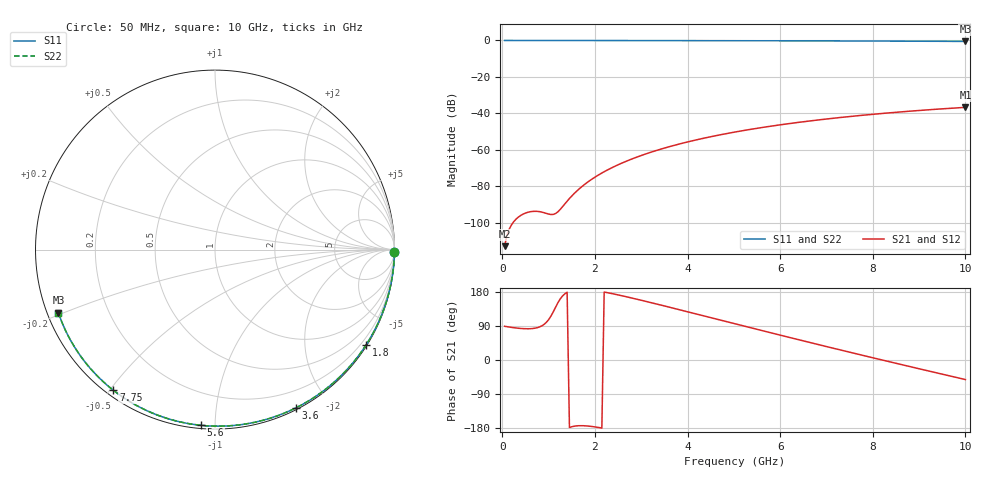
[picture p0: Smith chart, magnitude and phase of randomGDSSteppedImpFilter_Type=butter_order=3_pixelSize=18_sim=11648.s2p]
! freq	dB(S11)	phase(S11)	dB(S12)	phase(S12)
!  dB(S21)	phase(S21)	dB(S22)	phase(S22)
!S-par simulation data
#  GHz  S  DB  R 50
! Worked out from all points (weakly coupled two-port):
!   200 points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, 50 MHz to 10 GHz, reference 50 ohm
!   highest |S21| = -36.73 dB at 10 GHz (marker M1); lowest = -112.9 dB at 50 MHz (marker M2)
!   lowest |S11| = -0.5 dB at 10 GHz (marker M3), VSWR 32.78, Z = 1.58 - j9.69 ohm
!   |S11| at or under -10 dB: nowhere
!   |S22| runs from -0.5 to 0.0 dB; largest |S21 - S12| = 0
!   S11 on the Smith chart (normalised r, x): 50 MHz: open; 1.8 GHz: 0.03, -3.44; 3.6 GHz: 0.02, -1.63; 5.6 GHz: 0.02, -0.92; 7.75 GHz: 0.02, -0.51; 10 GHz: 0.03, -0.19
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0.05  -0.00 -0.9  -112.93 89.0  -112.93 89.0  -0.00 -0.9
0.45  -0.01 -8.2  -95.32 82.8  -95.32 82.8  -0.01 -8.2
0.9  -0.02 -16.4  -94.53 93.8  -94.53 93.8  -0.02 -16.4
1.7  -0.04 -30.6  -80.60 -173.3  -80.60 -173.3  -0.04 -30.6
1.75  -0.04 -31.5  -79.56 -173.4  -79.56 -173.4  -0.04 -31.5
1.8  -0.04 -32.4  -78.58 -173.8  -78.58 -173.8  -0.04 -32.4
1.95  -0.04 -35.0  -75.88 -175.7  -75.88 -175.7  -0.04 -35.0
2.1  -0.05 -37.6  -73.50 -178.5  -73.50 -178.5  -0.05 -37.6
2.3  -0.05 -41.1  -70.71 177.0  -70.71 177.0  -0.05 -41.1
2.5  -0.06 -44.6  -68.25 171.8  -68.25 171.8  -0.06 -44.5
2.9  -0.07 -51.4  -64.07 160.6  -64.07 160.6  -0.07 -51.4
3.4  -0.08 -59.7  -59.83 145.7  -59.83 145.7  -0.08 -59.7
3.6  -0.08 -63.0  -58.36 139.6  -58.36 139.6  -0.08 -63.0
4.3  -0.11 -74.4  -53.94 118.0  -53.94 118.0  -0.11 -74.4
5.05  -0.13 -86.1  -50.15 94.8  -50.15 94.8  -0.13 -86.1
5.6  -0.16 -94.5  -47.82 77.9  -47.82 77.9  -0.16 -94.5
6.15  -0.18 -102.7  -45.79 61.1  -45.79 61.1  -0.18 -102.7
6.7  -0.22 -110.8  -44.00 44.4  -44.00 44.4  -0.22 -110.8
7.75  -0.29 -125.9  -41.13 13.2  -41.13 13.2  -0.29 -125.8
8.35  -0.35 -134.4  -39.75 -4.3  -39.75 -4.3  -0.34 -134.4
9.2  -0.43 -146.5  -38.06 -28.8  -38.06 -28.8  -0.43 -146.5
10  -0.53 -158.0  -36.73 -51.6  -36.73 -51.6  -0.53 -158.0
